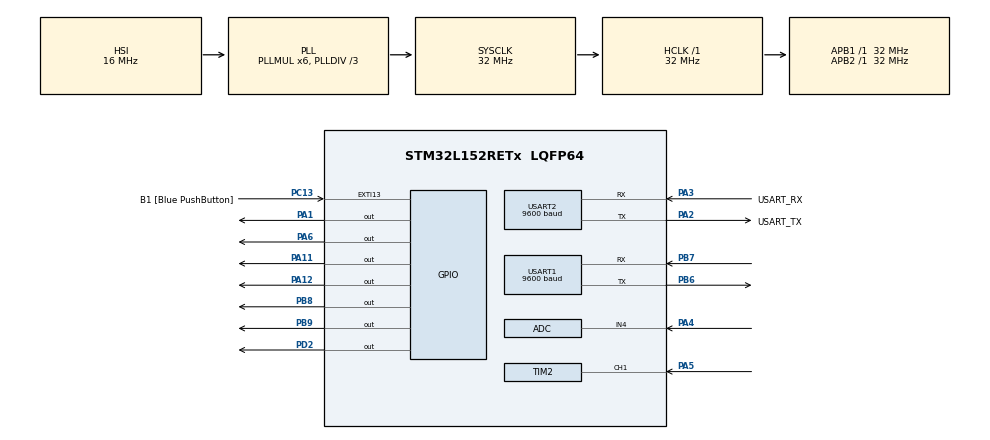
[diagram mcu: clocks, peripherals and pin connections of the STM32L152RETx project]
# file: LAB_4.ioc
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ADC.Channel-1\#ChannelRegularConversion=ADC_CHANNEL_4
ADC.NbrOfConversionFlag=1
ADC.Rank-1\#ChannelRegularConversion=1
ADC.SamplingTime-1\#ChannelRegularConversion=ADC_SAMPLETIME_4CYCLES
Mcu.Family=STM32L1
Mcu.Name=STM32L152RETx
Mcu.Package=LQFP64
NVIC.PriorityGroup=NVIC_PRIORITYGROUP_0
NVIC.USART1_IRQn=true\:0\:0\:false\:false\:true\:true\:true\:true
NVIC.USART2_IRQn=true\:0\:0\:false\:false\:true\:true\:true\:true
PA1.Signal=GPIO_Output
PA11.Signal=GPIO_Output
PA12.Signal=GPIO_Output
PA13.GPIO_Label=TMS
PA13.Mode=Serial_Wire
PA13.Signal=SYS_JTMS-SWDIO
PA14.GPIO_Label=TCK
PA14.Mode=Serial_Wire
PA14.Signal=SYS_JTCK-SWCLK
PA2.GPIO_Label=USART_TX
PA2.Mode=Asynchronous
PA2.Signal=USART2_TX
PA3.GPIO_Label=USART_RX
PA3.Mode=Asynchronous
PA3.Signal=USART2_RX
PA4.Signal=SharedAnalog_PA4
PA5.Signal=S_TIM2_CH1_ETR
PA6.Signal=GPIO_Output
PB3.GPIO_Label=SWO
PB3.Signal=SYS_JTDO-TRACESWO
PB6.Mode=Asynchronous
PB6.Signal=USART1_TX
PB7.Mode=Asynchronous
PB7.Signal=USART1_RX
PB8.Signal=GPIO_Output
PB9.Signal=GPIO_Output
PC13-WKUP2.GPIO_Label=B1 [Blue PushButton]
PC13-WKUP2.Signal=GPXTI13
PC14-OSC32_IN.Mode=LSE-External-Oscillator
PC14-OSC32_IN.Signal=RCC_OSC32_IN
PC15-OSC32_OUT.Mode=LSE-External-Oscillator
PC15-OSC32_OUT.Signal=RCC_OSC32_OUT
PD2.Signal=GPIO_Output
PH0-OSC_IN.Mode=HSE-External-Clock-Source
PH0-OSC_IN.Signal=RCC_OSC_IN
PH1-OSC_OUT.Signal=RCC_OSC_OUT
ProjectManager.HeapSize=0x200
ProjectManager.StackSize=0x400
ProjectManager.TargetToolchain=STM32CubeIDE
RCC.48MHZClocksFreq_Value=48000000
RCC.AHBFreq_Value=32000000
RCC.APB1Freq_Value=32000000
RCC.APB1TimFreq_Value=32000000
RCC.APB2Freq_Value=32000000
RCC.APB2TimFreq_Value=32000000
RCC.HCLKFreq_Value=32000000
RCC.HSE_VALUE=8000000
RCC.HSI_VALUE=16000000
RCC.MSI_VALUE=2097000
RCC.PLLDIV=RCC_PLL_DIV3
RCC.PLLMUL=RCC_PLL_MUL6
RCC.RTCClockSelectionVirtual=RCC_RTCCLKSOURCE_LSE
RCC.SYSCLKFreq_VALUE=32000000
RCC.SYSCLKSource=RCC_SYSCLKSOURCE_PLLCLK
RCC.USBOutput=48000000
RCC.VCOOutputFreq_Value=96000000
SH.S_TIM2_CH1_ETR.0=TIM2_CH1,Input_Capture1_from_TI1
SH.SharedAnalog_PA4.0=GPIO_Analog
SH.SharedAnalog_PA4.1=ADC_IN4,IN4
TIM2.Channel-Input_Capture1_from_TI1=TIM_CHANNEL_1
TIM2.Channel-Output\ Compare2\ No\ Output=TIM_CHANNEL_2
TIM2.Channel-Output\ Compare3\ No\ Output=TIM_CHANNEL_3
TIM3.Channel-Output\ Compare1\ No\ Output=TIM_CHANNEL_1
TIM4.Channel-PWM\ Generation3\ No\ Output=TIM_CHANNEL_3
TIM4.Channel-PWM\ Generation4\ No\ Output=TIM_CHANNEL_4
USART1.BaudRate=9600
USART1.VirtualMode=VM_ASYNC
USART2.BaudRate=9600
USART2.VirtualMode=VM_ASYNC
VP_TIM2_VS_ClockSourceINT.Mode=Internal
VP_TIM2_VS_no_output2.Mode=Output Compare2 No Output
VP_TIM2_VS_no_output3.Mode=Output Compare3 No Output
VP_TIM3_VS_ClockSourceINT.Mode=Internal
VP_TIM3_VS_no_output1.Mode=Output Compare1 No Output
VP_TIM4_VS_ClockSourceINT.Mode=Internal
VP_TIM4_VS_no_output3.Mode=PWM Generation3 No Output
VP_TIM4_VS_no_output4.Mode=PWM Generation4 No Output
board=NUCLEO-L152RE

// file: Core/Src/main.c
/* USER CODE BEGIN Header */
/**
  **************************
  * @file           : main.c
  * @brief          : Main program body
  **************************
  * @attention
  *
  * Copyright (c) 2023 STMicroelectronics.
  * All rights reserved.
  *
  * This software is licensed under terms that can be found in the LICENSE file
  * in the root directory of this software component.
  * If no LICENSE file comes with this software, it is provided AS-IS.
  *
  **************************
  */
/* USER CODE END Header */
#include "main.h"
#include "myfile.h"

/* USER CODE BEGIN PD */
#define TIME_FULL_STOP 50000
#define TIME_BUZZER_TOC 30000
#define TIME_TRIGGER_TOC 320
#define LIMITE 20
#define PWM_PREESCALER 319
/* USER CODE END PD */

ADC_HandleTypeDef hadc;

TIM_HandleTypeDef htim2;
TIM_HandleTypeDef htim3;
TIM_HandleTypeDef htim4;

UART_HandleTypeDef huart1;
UART_HandleTypeDef huart2;

/* USER CODE BEGIN PV */
unsigned char t_value = 'S';
unsigned int gearbox[5];//THE SPEEDS IN THIS PROGRAMS WILL FUNCTION LIKE A GEARBOX,0 IS LOWEST, 4 IS HIGHEST
unsigned char is_buzzer_on = 0;
unsigned char blinking = 0;
unsigned char nturns = 0;
unsigned char turning_time = 0;
unsigned char stopped = 0;
unsigned short pot_value = 0;
unsigned short tiempo = 0;
unsigned int distance  = 0;

unsigned char buff_rx[8];
unsigned char buff_tx[256];

/* USER CODE END PV */

void SystemClock_Config(void);
static void MX_GPIO_Init(void);
static void MX_USART2_UART_Init(void);
static void MX_ADC_Init(void);
static void MX_TIM2_Init(void);
static void MX_TIM3_Init(void);
static void MX_TIM4_Init(void);
static void MX_USART1_UART_Init(void);

/* USER CODE BEGIN 0 */
void send_String(char *c){
  int i = 0;
  while (*c != 0){//SENDS CHARACTERS UNTIL THE STRIGN FINISHES
    buff_tx[i] = *c;
    c++;
    i++;
  }
  buff_tx[i] = '\0';
  HAL_UART_Transmit_IT(&huart1, buff_tx, (i)*sizeof(unsigned char));
}

void Start_TIM2(void){
  TIM2 -> CR1 |= 0x0001;
  TIM2 -> EGR |= 0x0001;
  TIM2 -> SR = 0x0000;
}

void Stop_TIM2(void){
  TIM2 -> CR1 &= 0x0000;
  TIM2 -> EGR |= 0x0001;
  TIM2 -> SR = 0x0000;
}

void Start_TIM3(void){
  TIM3 -> CR1 |= 0x0001;
  TIM3 -> EGR |= 0x0001;
  TIM3 -> SR = 0;
}

void Stop_TIM3(void){
  TIM3 -> CR1 &= 0x0000;
  TIM3 -> EGR |= 0x0001;
  TIM3 -> SR = 0x0000;
}
void Full_Stop(void){//IN THIS FUNCTION I SET ALL PINS TO 0 AND THE PWM TO 0 ALSO
  stopped=0;
  TIM4 -> CCR3 = gearbox[0];//THIS MAKES ALL THE WHEELS STOP
  TIM4 -> CCR4 = gearbox[0];
  GPIOA -> BSRR = (1<<(11+16));
  GPIOA -> BSRR = (1<<(12+16));
}

void Full_Forward(void){
  TIM4 -> CCR3 = gearbox[4];
  TIM4 -> CCR4 = gearbox[4];
  GPIOA -> BSRR = (1<<(11+16));
  GPIOA -> BSRR = (1<<(12+16));
}

void Full_Backward(void){
  TIM4 -> CCR3 = gearbox[0];
  TIM4 -> CCR4 = gearbox[0];
  GPIOA -> BSRR = (1<<(11));
  GPIOA -> BSRR = (1<<(12));
}

void R_Turn(void){
  //Left wheel stopped, right wheel backwards
  turning_time = 0;

  TIM4 -> CCR4 = gearbox[0];
  GPIOA -> BSRR = (1<<(12+16));

  TIM4 -> CCR3 = gearbox[0];
  GPIOA -> BSRR = (1<<11);
  while(turning_time!=3);
  Full_Stop();
}

void L_Turn(void){
  turning_time = 0;
  TIM4 -> CCR3 = gearbox[0];
  GPIOA -> BSRR = (1<<(11+16));
  TIM4 -> CCR4 = gearbox[0];
  GPIOA -> BSRR = (1<<12);
  while(turning_time!=3);
  Full_Stop();
}

void Velocity_Selector(void){
  while ((ADC1 -> SR & 0x0040)==0);//wait until the adc is ready
  ADC1->CR2 |= 0x40000000; //START CONVERSION
  while ((ADC1->SR&0x0002)==0); // WAIT UNTIL END OF CONVERSION
  pot_value = ADC1 -> DR; //STORE THE ADC VALUE, THEN SELECT THE 4 VELOCITIES (DUTY CYCLES)
  if((pot_value >=0) && (pot_value <= 1023)){//SLOWER CASE
    gearbox[0] = 0;//The gear 0 will always be full stop
    gearbox[1] = 100;
    gearbox[2] = 120;
    gearbox[3] = 140;
    gearbox[4] = 160;//This is the maximum speed in the slower case
  } else if ((pot_value > 1023) && (pot_value <= 2047)){//MEDIUM LOW CASE
    gearbox[0] = 0;//The gear 0 will always be full stop
    gearbox[1] = 180;
    gearbox[2] = 200;
    gearbox[3] = 220;
    gearbox[4] = 240;
  } else if ((pot_value > 2047) && (pot_value <= 3071)){// MEDIUM HIGH CASE
    gearbox[0] = 0;//The gear 0 will always be full stop
    gearbox[1] = 180;
    gearbox[2] = 220;
    gearbox[3] = 260;
    gearbox[4] = 270;
  } else {//FULL SPEED AVAILABLE
    gearbox[0] = 0;//The gear 0 will always be full stop
    gearbox[1] = 220;
    gearbox[2] = 240;
    gearbox[3] = 280;
    gearbox[4] = 320;
  }
}

void Geardown(void){//MAYBE WE WILL NEED TO ADD MORE SPEEDS BUT THE IDEA IS THE SAME
  if((distance < 30000)&&(distance > 23333)){
    TIM4 -> CCR3 = gearbox[3];
    TIM4 -> CCR4 = gearbox[3];
  } else if((distance < 23333)&&(distance > 16666)){
    TIM4 -> CCR3 = gearbox[2];
    TIM4 -> CCR4 = gearbox[2];
  } else if((distance < 16666)&&(distance > 10000)){
    TIM4 -> CCR3 = gearbox[1];
    TIM4 -> CCR4 = gearbox[1];
  }
}

void OAP(void){//OAP STANDS FOR OBJECT AVOIDANCE PROTOCOL
  stopped = 0;
  Full_Stop(); //tiene que esperar medio segundo
  //send_String("CAR STOPPED\r\n");
  while(stopped !=3);//Wait until the timer finishes

  if(nturns==0){
  R_Turn();
  send_String("TURNING RIGHT\r");
  nturns++;
  } else if(nturns==1){
    L_Turn();
    send_String("TURNING LEFT\r");
    stopped=0;
    Full_Stop(); //tiene que esperar medio segundo
    while(stopped !=1);//Wait until the timer finishes
    L_Turn();
    send_String("TURNING LEFT\r");
    nturns++;
  } else{
    L_Turn();
    send_String("TURNING LEFT\r");
    nturns = 0;
  }
}

void On_Off_Blink(void){
  if(distance < 10000){ //buzzer is fully active
    GPIOA -> BSRR = (1<<17);
    blinking = 0;
    is_buzzer_on = 1;
  } else if((distance < 30000)&&(distance > 10000)){
    blinking = 1;
    //Geardown();
  } else{
     GPIOA -> BSRR = (1<<1);
     blinking = 0;
     is_buzzer_on = 0;
     //Full_Forward();
  }
}
void Blinking(void){
  if(blinking == 1){
    if(is_buzzer_on == 0){
      GPIOA -> BSRR = (1<<17);
      is_buzzer_on = 1;
    } else{
      GPIOA -> BSRR = (1<<1);
      is_buzzer_on = 0;
    }
  }
}

void TIM2_IRQHandler(void){
  if((TIM2 -> SR & 0x0002) == 0){
    //STORE THE TIME
    tiempo = TIM2->CCR1;
    tiempo -= 250;
    if (tiempo<0) tiempo += 0xFFFF;
    distance = calcular_distancia(tiempo);
    Start_TIM3();
    GPIOD -> BSRR = (1<<2);
    //STOP TIMER 2
    TIM2 -> CR1 &= 0x0000;
    TIM2 -> EGR |= 0x0001;
    On_Off_Blink();
  }
  if((TIM2 -> SR & 0x0004) != 0){
    Blinking();
  }
  if((TIM2 -> SR & 0x0008) != 0){
    turning_time++;
    stopped++;

  }
  TIM2 -> SR = 0x0000;
}

void TIM3_IRQHandler(void){
  // WHEN THE COMPARISON IS SUCCESSFUL
  if((TIM3 -> SR & 0x0002) != 0){
    //DEACTIVATE TRIGGER
    GPIOD -> BSRR = (1<<(2+16));
    //STARTS TIMER 2 TIC
    //STARTS ECHO RECEPTION (DONE AUTOMATICALLY)
    Start_TIM2();
    //CLEARS ITSELF
    Stop_TIM3();
  }
}

/* USER CODE END 0 */

int main(void)
{

  /* MCU Configuration--------------------------------------------------------*/

  /* Reset of all peripherals, Initializes the Flash interface and the Systick. */
  HAL_Init();

  /* Configure the system clock */
  SystemClock_Config();

  /* Initialize all configured peripherals */
  MX_GPIO_Init();
  MX_USART2_UART_Init();
  MX_ADC_Init();
  MX_TIM2_Init();
  MX_TIM3_Init();
  MX_TIM4_Init();
  MX_USART1_UART_Init();
  /* USER CODE BEGIN 2 */

  //LAB 3 INITIALIZATION (Potentiometer, ADC, PWM, maybe extra timers)

  // PA4 (POTENTIOMETER) INITIALIZATION
  GPIOA -> MODER |= (1<<4);//ANALOG FUNCTIONALITY
  GPIOA -> MODER |= (1<<5);

  ADC1 -> CR2 &= ~(1<<1);//MAKE SURE THE POWER IS OFF
  ADC1 -> CR1 = 0x00000000;
  ADC1 -> CR2 |= 0x00000400;//EOCS IS ACTIVATED AT THE END OF EACH REGULAR CONVERSION
  ADC1 -> SQR1 = 0x00000000;//I JUST WANT ONE CONVERSION
  ADC1 -> SQR5 = 0x00000004;
  ADC1 -> CR2 |= 0x00000001;//POWER ON
  //PWM4 INITIALIZATION
  TIM4 -> CR1 = 0x0080; //ACTIVATE PWM MODE
  TIM4 -> CR2 = 0x0000;
  TIM4 -> SMCR = 0x0000;
  TIM4 -> PSC = PWM_PREESCALER;
  TIM4 -> CNT = 0;
  TIM4 -> ARR = 320;//CAMBIAR A 320 PETICION DEL TEACHER
  TIM4 -> CCR3 = 320;//AT FIRST WE WILL SELECT THE FULL VELOCITY
  TIM4 -> CCR4 = 320;//AFTERWARDS WE WILL CHANGE IT USING THE ADC
  TIM4 -> DIER = 0x0000;//no interrupts

  TIM4 -> CCMR2 = 0x6868;//IN BOTH CHANNELS GOES THE SAME CONFIGURATION
  TIM4 -> CCER = 0x1100;// ALWAYS IN PWM AND HARDWARE OUTPUT ACTIVE
  TIM4 -> CR1 |= 0x0001;
  TIM4 -> EGR |= 0x0001;
  TIM4 -> SR = 0;
  //LAB 1 INITIALIZATION

  //PA6 is going to enable the first motor in the driver
  GPIOA -> MODER |= (1<<12);
  GPIOA -> MODER &= ~(1<<13);
  //First motor enable pin
  GPIOA -> BSRR = (1<<6);

  //PB8 -> IN1, GOES ASSOCIATED  TO AF 2
  GPIOB -> MODER |= (1<<17);
  GPIOB -> MODER &= ~(1<<16);
  GPIOB -> AFR[1] |= 0x0002;//ASSOCCIATED TO TIM 4
  //PA11 -> IN2
  GPIOA -> MODER |= (1<<22);
  GPIOA -> MODER &= ~(1<<23);
  //PB9 -> IN3 ASSSOCIATED WITH AF2
  GPIOB -> MODER |= (1<<19);
  GPIOB -> MODER &= ~(1<<18);
  GPIOB -> AFR[1] |= 0x0020; //GOES TO TIM 4 THOSE WILL USE PWM
  //PA12 -> IN4
  GPIOA -> MODER |= (1<<24);
  GPIOA -> MODER &= ~(1<<25);

  //LAB 2 INITIALIZATION
  //PD2, IS AN OUTPUT
  GPIOD -> MODER &= ~(1<<5);
  GPIOD -> MODER |= (1<<4);
  //PA5 IS A TIC IS ECHO
  GPIOA -> MODER &= ~(1<<10);
  GPIOA -> MODER |= (1<<11);
  GPIOA -> AFR[0] &= ~(1 << 21);
  GPIOA -> AFR[0] &= ~(1 << 22);
  GPIOA -> AFR[0] &= ~(1 << 23);
  GPIOA -> AFR[0] |= (1 << 20);

  //PA1 USES A TOC USED TIMER 3 BUT IS AN OUTPUT, THIS IS THE BUZZER
  GPIOA -> MODER &= ~(1<<3);
  GPIOA -> MODER |= (1<<2); //MODER 10 TO MAKE PA1 OUTPUT

  GPIOA -> BSRR |= (1<<1); //Silence the buzz

  //Now it is time to set up the timers TIM2 and TIM3

  //FIRST TIM2 TIC OF ECHO

  //I JUST DO THE ORDINARY THINGS TO INITIALIZE
  TIM2 -> CR1 = 0x0000;
  TIM2 -> CR2 = 0x0000; //ALWAYS 0
  TIM2 -> SMCR = 0x0000; //ALWAYS 0
  //SETTING THE PRESCALER TO THE DESIRED VALUE
  TIM2 -> PSC = 319; //with this preescaler we are able to measure 38 ms in 3200 time steps. The precision is fine.
  TIM2 -> CNT = 0;
  TIM2 -> ARR = 0xFFFF; //THIS IS A STANDARD IF THERE IS NOT PWM
  TIM2 -> CCR2 = TIME_BUZZER_TOC;
  TIM3 -> CCR3 = TIME_FULL_STOP;
  TIM2 -> DIER = 0x000E; // THIS MEANS A ONE IN BIT 1, ONE IN BIT 2 AND ONE IN 3

  // EXTERNAL PIN BEHAVIOUR
  TIM2 -> CCMR1 = 0x0001; //THIS SELECTS IN THE CCMR1 A TIC IN CHANNEL 1
  TIM2 -> CCMR2 = 0x0000;
  TIM2 -> CCER = 0X000B;   //THIS SELECTS THE TIC IN CHANNEL 1
  // THE TIC IN CHANNEL 1 IS ALWAYS A TIC AND IT IS ACTIVATED
  //INITIALIZING TIMERS
  TIM2 -> CR1 |= 0x0000; //WE DO NOT WANT IT TO START YET
  TIM2 -> EGR |= 0x0001; //FOR THIS REASON WE RAISE ANY FLAGS
  TIM2 -> SR = 0;

    //TIM3 TRIGGER TOC, MEASURES 10 MICROSECONDS
  TIM3 -> CR1 = 0x0000;
  TIM3 -> CR2 = 0x0000;
  TIM3 -> SMCR = 0x0000;
  //WE DO NOT NEED PRESCALER
  TIM3 -> PSC = 0;
  TIM3 -> CNT = 0;
  TIM3 -> ARR = 0xFFFF;
  TIM3 -> CCR1 = TIME_TRIGGER_TOC;//EACH 320 STEPS WE MEASURE 10 MICROSECONDS

  TIM3 -> DIER = 0x0002;
  TIM3 -> CCMR1 = 0x0000;
  TIM3 -> CCER = 0x0000;

  TIM3 -> CR1 |= 0x0001;
  TIM3 -> EGR |= 0x0001;
  TIM3 -> SR = 0;

  //AFTER FINISHING THE INITIALIZATION, START THE TRIGGER

  GPIOD -> BSRR = (1<<2);
  Velocity_Selector();
  //ACTIVATE THE NVICS
  NVIC -> ISER[0] |= (1<<28);
  NVIC -> ISER[0] |= (1<<29);
  HAL_UART_Receive_IT(&huart1, &(buff_rx[1]), 1);

  /* USER CODE END 2 */

  /* Infinite loop */
  /* USER CODE BEGIN WHILE */
  //send_String(1,"STARTING IN AUTOMATIC MODE:\r\n");
  //send_String(2,"STARTING IN AUTOMATIC MODE:\r\n");
  send_String("ACTIVE\r");
  while (1)
  {
    switch (t_value){
      case 'S':
        Full_Stop();
        break;
      case 'F':
        Full_Forward();
        break;
      case 'B':
        Full_Backward();
        break;
      case 'L':
        L_Turn();
        t_value = 'S';
        break;
      case 'R':
        R_Turn();
        t_value = 'S';
        break;
      default:
        if(distance < 10000){
                OAP();
              } else if((distance < 30000)){
                Geardown();
                if(nturns!=0){
                OAP();
                }
              } else{
                nturns=0;
                Full_Forward();
              }
        break;
    }
    if((distance >= 9500)&&(distance<=10500)){
      send_String("OBJECT AT 10 CM!\r");

    }else if((distance >= 29500)&&(distance<=30500)){
      send_String("OBJECT AT 20 CM!\r");
    }
    /* USER CODE END WHILE */

  }
}

void SystemClock_Config(void)
{
  RCC_OscInitTypeDef RCC_OscInitStruct = {0};
  RCC_ClkInitTypeDef RCC_ClkInitStruct = {0};

  /** Configure the main internal regulator output voltage
  */
  __HAL_PWR_VOLTAGESCALING_CONFIG(PWR_REGULATOR_VOLTAGE_SCALE1);

  /** Initializes the RCC Oscillators according to the specified parameters
  * in the RCC_OscInitTypeDef structure.
  */
  RCC_OscInitStruct.OscillatorType = RCC_OSCILLATORTYPE_HSI;
  RCC_OscInitStruct.HSIState = RCC_HSI_ON;
  RCC_OscInitStruct.HSICalibrationValue = RCC_HSICALIBRATION_DEFAULT;
  RCC_OscInitStruct.PLL.PLLState = RCC_PLL_ON;
  RCC_OscInitStruct.PLL.PLLSource = RCC_PLLSOURCE_HSI;
  RCC_OscInitStruct.PLL.PLLMUL = RCC_PLL_MUL6;
  RCC_OscInitStruct.PLL.PLLDIV = RCC_PLL_DIV3;
  if (HAL_RCC_OscConfig(&RCC_OscInitStruct) != HAL_OK)
  {
    Error_Handler();
  }

  /** Initializes the CPU, AHB and APB buses clocks
  */
  RCC_ClkInitStruct.ClockType = RCC_CLOCKTYPE_HCLK|RCC_CLOCKTYPE_SYSCLK
                              |RCC_CLOCKTYPE_PCLK1|RCC_CLOCKTYPE_PCLK2;
  RCC_ClkInitStruct.SYSCLKSource = RCC_SYSCLKSOURCE_PLLCLK;
  RCC_ClkInitStruct.AHBCLKDivider = RCC_SYSCLK_DIV1;
  RCC_ClkInitStruct.APB1CLKDivider = RCC_HCLK_DIV1;
  RCC_ClkInitStruct.APB2CLKDivider = RCC_HCLK_DIV1;

  if (HAL_RCC_ClockConfig(&RCC_ClkInitStruct, FLASH_LATENCY_1) != HAL_OK)
  {
    Error_Handler();
  }
}

static void MX_ADC_Init(void)
{

  ADC_ChannelConfTypeDef sConfig = {0};

  /** Configure the global features of the ADC (Clock, Resolution, Data Alignment and number of conversion)
  */
  hadc.Instance = ADC1;
  hadc.Init.ClockPrescaler = ADC_CLOCK_ASYNC_DIV1;
  hadc.Init.Resolution = ADC_RESOLUTION_12B;
  hadc.Init.DataAlign = ADC_DATAALIGN_RIGHT;
  hadc.Init.ScanConvMode = ADC_SCAN_DISABLE;
  hadc.Init.EOCSelection = ADC_EOC_SEQ_CONV;
  hadc.Init.LowPowerAutoWait = ADC_AUTOWAIT_DISABLE;
  hadc.Init.LowPowerAutoPowerOff = ADC_AUTOPOWEROFF_DISABLE;
  hadc.Init.ChannelsBank = ADC_CHANNELS_BANK_A;
  hadc.Init.ContinuousConvMode = DISABLE;
  hadc.Init.NbrOfConversion = 1;
  hadc.Init.DiscontinuousConvMode = DISABLE;
  hadc.Init.ExternalTrigConv = ADC_SOFTWARE_START;
  hadc.Init.ExternalTrigConvEdge = ADC_EXTERNALTRIGCONVEDGE_NONE;
  hadc.Init.DMAContinuousRequests = DISABLE;
  if (HAL_ADC_Init(&hadc) != HAL_OK)
  {
    Error_Handler();
  }

  /** Configure for the selected ADC regular channel its corresponding rank in the sequencer and its sample time.
  */
  sConfig.Channel = ADC_CHANNEL_4;
  sConfig.Rank = ADC_REGULAR_RANK_1;
  sConfig.SamplingTime = ADC_SAMPLETIME_4CYCLES;
  if (HAL_ADC_ConfigChannel(&hadc, &sConfig) != HAL_OK)
  {
    Error_Handler();
  }

}

static void MX_TIM2_Init(void)
{

  TIM_ClockConfigTypeDef sClockSourceConfig = {0};
  TIM_MasterConfigTypeDef sMasterConfig = {0};
  TIM_IC_InitTypeDef sConfigIC = {0};
  TIM_OC_InitTypeDef sConfigOC = {0};

  htim2.Instance = TIM2;
  htim2.Init.Prescaler = 0;
  htim2.Init.CounterMode = TIM_COUNTERMODE_UP;
  htim2.Init.Period = 65535;
  htim2.Init.ClockDivision = TIM_CLOCKDIVISION_DIV1;
  htim2.Init.AutoReloadPreload = TIM_AUTORELOAD_PRELOAD_DISABLE;
  if (HAL_TIM_Base_Init(&htim2) != HAL_OK)
  {
    Error_Handler();
  }
  sClockSourceConfig.ClockSource = TIM_CLOCKSOURCE_INTERNAL;
  if (HAL_TIM_ConfigClockSource(&htim2, &sClockSourceConfig) != HAL_OK)
  {
    Error_Handler();
  }
  if (HAL_TIM_IC_Init(&htim2) != HAL_OK)
  {
    Error_Handler();
  }
  if (HAL_TIM_OC_Init(&htim2) != HAL_OK)
  {
    Error_Handler();
  }
  sMasterConfig.MasterOutputTrigger = TIM_TRGO_RESET;
  sMasterConfig.MasterSlaveMode = TIM_MASTERSLAVEMODE_DISABLE;
  if (HAL_TIMEx_MasterConfigSynchronization(&htim2, &sMasterConfig) != HAL_OK)
  {
    Error_Handler();
  }
  sConfigIC.ICPolarity = TIM_INPUTCHANNELPOLARITY_RISING;
  sConfigIC.ICSelection = TIM_ICSELECTION_DIRECTTI;
  sConfigIC.ICPrescaler = TIM_ICPSC_DIV1;
  sConfigIC.ICFilter = 0;
  if (HAL_TIM_IC_ConfigChannel(&htim2, &sConfigIC, TIM_CHANNEL_1) != HAL_OK)
  {
    Error_Handler();
  }
  sConfigOC.OCMode = TIM_OCMODE_TIMING;
  sConfigOC.Pulse = 0;
  sConfigOC.OCPolarity = TIM_OCPOLARITY_HIGH;
  sConfigOC.OCFastMode = TIM_OCFAST_DISABLE;
  if (HAL_TIM_OC_ConfigChannel(&htim2, &sConfigOC, TIM_CHANNEL_2) != HAL_OK)
  {
    Error_Handler();
  }
  if (HAL_TIM_OC_ConfigChannel(&htim2, &sConfigOC, TIM_CHANNEL_3) != HAL_OK)
  {
    Error_Handler();
  }

}

static void MX_TIM3_Init(void)
{

  TIM_ClockConfigTypeDef sClockSourceConfig = {0};
  TIM_MasterConfigTypeDef sMasterConfig = {0};
  TIM_OC_InitTypeDef sConfigOC = {0};

  htim3.Instance = TIM3;
  htim3.Init.Prescaler = 0;
  htim3.Init.CounterMode = TIM_COUNTERMODE_UP;
  htim3.Init.Period = 65535;
  htim3.Init.ClockDivision = TIM_CLOCKDIVISION_DIV1;
  htim3.Init.AutoReloadPreload = TIM_AUTORELOAD_PRELOAD_DISABLE;
  if (HAL_TIM_Base_Init(&htim3) != HAL_OK)
  {
    Error_Handler();
  }
  sClockSourceConfig.ClockSource = TIM_CLOCKSOURCE_INTERNAL;
  if (HAL_TIM_ConfigClockSource(&htim3, &sClockSourceConfig) != HAL_OK)
  {
    Error_Handler();
  }
  if (HAL_TIM_OC_Init(&htim3) != HAL_OK)
  {
    Error_Handler();
  }
  sMasterConfig.MasterOutputTrigger = TIM_TRGO_RESET;
  sMasterConfig.MasterSlaveMode = TIM_MASTERSLAVEMODE_DISABLE;
  if (HAL_TIMEx_MasterConfigSynchronization(&htim3, &sMasterConfig) != HAL_OK)
  {
    Error_Handler();
  }
  sConfigOC.OCMode = TIM_OCMODE_TIMING;
  sConfigOC.Pulse = 0;
  sConfigOC.OCPolarity = TIM_OCPOLARITY_HIGH;
  sConfigOC.OCFastMode = TIM_OCFAST_DISABLE;
  if (HAL_TIM_OC_ConfigChannel(&htim3, &sConfigOC, TIM_CHANNEL_1) != HAL_OK)
  {
    Error_Handler();
  }

}

static void MX_TIM4_Init(void)
{

  TIM_ClockConfigTypeDef sClockSourceConfig = {0};
  TIM_MasterConfigTypeDef sMasterConfig = {0};
  TIM_OC_InitTypeDef sConfigOC = {0};

  htim4.Instance = TIM4;
  htim4.Init.Prescaler = 0;
  htim4.Init.CounterMode = TIM_COUNTERMODE_UP;
  htim4.Init.Period = 65535;
  htim4.Init.ClockDivision = TIM_CLOCKDIVISION_DIV1;
  htim4.Init.AutoReloadPreload = TIM_AUTORELOAD_PRELOAD_DISABLE;
  if (HAL_TIM_Base_Init(&htim4) != HAL_OK)
  {
    Error_Handler();
  }
  sClockSourceConfig.ClockSource = TIM_CLOCKSOURCE_INTERNAL;
  if (HAL_TIM_ConfigClockSource(&htim4, &sClockSourceConfig) != HAL_OK)
  {
    Error_Handler();
  }
  if (HAL_TIM_PWM_Init(&htim4) != HAL_OK)
  {
    Error_Handler();
  }
  sMasterConfig.MasterOutputTrigger = TIM_TRGO_RESET;
  sMasterConfig.MasterSlaveMode = TIM_MASTERSLAVEMODE_DISABLE;
  if (HAL_TIMEx_MasterConfigSynchronization(&htim4, &sMasterConfig) != HAL_OK)
  {
    Error_Handler();
  }
  sConfigOC.OCMode = TIM_OCMODE_PWM1;
  sConfigOC.Pulse = 0;
  sConfigOC.OCPolarity = TIM_OCPOLARITY_HIGH;
  sConfigOC.OCFastMode = TIM_OCFAST_DISABLE;
  if (HAL_TIM_PWM_ConfigChannel(&htim4, &sConfigOC, TIM_CHANNEL_3) != HAL_OK)
  {
    Error_Handler();
  }
  if (HAL_TIM_PWM_ConfigChannel(&htim4, &sConfigOC, TIM_CHANNEL_4) != HAL_OK)
  {
    Error_Handler();
  }

}

static void MX_USART1_UART_Init(void)
{

  huart1.Instance = USART1;
  huart1.Init.BaudRate = 9600;
  huart1.Init.WordLength = UART_WORDLENGTH_8B;
  huart1.Init.StopBits = UART_STOPBITS_1;
  huart1.Init.Parity = UART_PARITY_NONE;
  huart1.Init.Mode = UART_MODE_TX_RX;
  huart1.Init.HwFlowCtl = UART_HWCONTROL_NONE;
  huart1.Init.OverSampling = UART_OVERSAMPLING_16;
  if (HAL_UART_Init(&huart1) != HAL_OK)
  {
    Error_Handler();
  }

}

static void MX_USART2_UART_Init(void)
{

  huart2.Instance = USART2;
  huart2.Init.BaudRate = 9600;
  huart2.Init.WordLength = UART_WORDLENGTH_8B;
  huart2.Init.StopBits = UART_STOPBITS_1;
  huart2.Init.Parity = UART_PARITY_NONE;
  huart2.Init.Mode = UART_MODE_TX_RX;
  huart2.Init.HwFlowCtl = UART_HWCONTROL_NONE;
  huart2.Init.OverSampling = UART_OVERSAMPLING_16;
  if (HAL_UART_Init(&huart2) != HAL_OK)
  {
    Error_Handler();
  }

}

static void MX_GPIO_Init(void)
{
  GPIO_InitTypeDef GPIO_InitStruct = {0};

  /* GPIO Ports Clock Enable */
  __HAL_RCC_GPIOC_CLK_ENABLE();
  __HAL_RCC_GPIOH_CLK_ENABLE();
  __HAL_RCC_GPIOA_CLK_ENABLE();
  __HAL_RCC_GPIOD_CLK_ENABLE();
  __HAL_RCC_GPIOB_CLK_ENABLE();

  /*Configure GPIO pin Output Level */
  HAL_GPIO_WritePin(GPIOA, GPIO_PIN_1|GPIO_PIN_6|GPIO_PIN_11|GPIO_PIN_12, GPIO_PIN_RESET);

  /*Configure GPIO pin Output Level */
  HAL_GPIO_WritePin(GPIOD, GPIO_PIN_2, GPIO_PIN_RESET);

  /*Configure GPIO pin Output Level */
  HAL_GPIO_WritePin(GPIOB, GPIO_PIN_8|GPIO_PIN_9, GPIO_PIN_RESET);

  /*Configure GPIO pin : B1_Pin */
  GPIO_InitStruct.Pin = B1_Pin;
  GPIO_InitStruct.Mode = GPIO_MODE_IT_RISING;
  GPIO_InitStruct.Pull = GPIO_NOPULL;
  HAL_GPIO_Init(B1_GPIO_Port, &GPIO_InitStruct);

  /*Configure GPIO pins : PA1 PA6 PA11 PA12 */
  GPIO_InitStruct.Pin = GPIO_PIN_1|GPIO_PIN_6|GPIO_PIN_11|GPIO_PIN_12;
  GPIO_InitStruct.Mode = GPIO_MODE_OUTPUT_PP;
  GPIO_InitStruct.Pull = GPIO_NOPULL;
  GPIO_InitStruct.Speed = GPIO_SPEED_FREQ_LOW;
  HAL_GPIO_Init(GPIOA, &GPIO_InitStruct);

  /*Configure GPIO pin : PD2 */
  GPIO_InitStruct.Pin = GPIO_PIN_2;
  GPIO_InitStruct.Mode = GPIO_MODE_OUTPUT_PP;
  GPIO_InitStruct.Pull = GPIO_NOPULL;
  GPIO_InitStruct.Speed = GPIO_SPEED_FREQ_LOW;
  HAL_GPIO_Init(GPIOD, &GPIO_InitStruct);

  /*Configure GPIO pins : PB8 PB9 */
  GPIO_InitStruct.Pin = GPIO_PIN_8|GPIO_PIN_9;
  GPIO_InitStruct.Mode = GPIO_MODE_OUTPUT_PP;
  GPIO_InitStruct.Pull = GPIO_NOPULL;
  GPIO_InitStruct.Speed = GPIO_SPEED_FREQ_LOW;
  HAL_GPIO_Init(GPIOB, &GPIO_InitStruct);

}

/* USER CODE BEGIN 4 */
void HAL_UART_RxCpltCallback(UART_HandleTypeDef *huart1){
  t_value = buff_rx[1];
  switch(t_value){
    case 'S':
      send_String("VEHICLE STOPPED\r");
      break;
    case 'F':
      send_String("GOING FORWARD\r");
      break;
    case 'B':
      send_String("GOING BACKWARDS\r");
      break;
    case 'L':
      send_String("TURNING LEFT\r");
      break;
    case 'R':
      send_String("TURNING RIGHT\r");
      break;
    case 'A':
      send_String("AUTOMATIC MODE\r");
      break;
  }

  HAL_UART_Receive_IT(huart1, &(buff_rx[1]), 1);

}
void HAL_UART_TxCpltCallback(UART_HandleTypeDef *huart1){

}
/* USER CODE END 4 */

void Error_Handler(void)
{
  __disable_irq();
  while (1)
  {
  }
}
